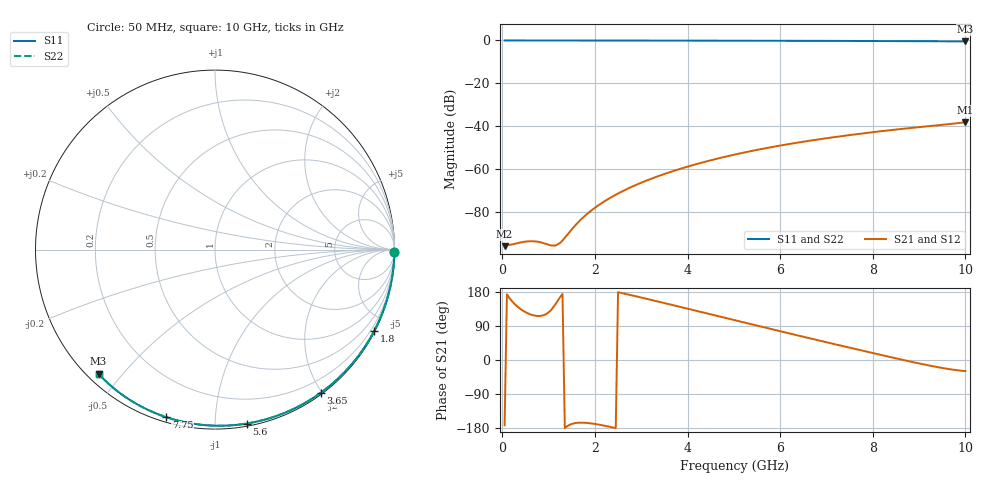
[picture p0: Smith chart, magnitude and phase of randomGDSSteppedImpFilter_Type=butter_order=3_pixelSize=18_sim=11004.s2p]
! freq	dB(S11)	phase(S11)	dB(S12)	phase(S12)
!  dB(S21)	phase(S21)	dB(S22)	phase(S22)
!S-par simulation data
#  GHz  S  DB  R 50
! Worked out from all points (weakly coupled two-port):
!   200 points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, 50 MHz to 10 GHz, reference 50 ohm
!   highest |S21| = -38.08 dB at 10 GHz (marker M1); lowest = -95.8 dB at 50 MHz (marker M2)
!   lowest |S11| = -0.5 dB at 10 GHz (marker M3), VSWR 37.67, Z = 1.58 - j21.7 ohm
!   |S11| at or under -10 dB: nowhere
!   |S22| runs from -0.5 to 0.0 dB; largest |S21 - S12| = 0
!   S11 on the Smith chart (normalised r, x): 50 MHz: open; 1.8 GHz: 0.04, -4.16; 3.65 GHz: 0.02, -1.98; 5.6 GHz: 0.02, -1.20; 7.75 GHz: 0.02, -0.75; 10 GHz: 0.03, -0.43
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0.05  -0.00 -0.8  -95.82 -172.2  -95.82 -172.2  -0.00 -0.8
0.9  -0.02 -13.7  -94.48 118.6  -94.48 118.6  -0.02 -13.7
1.75  -0.03 -26.3  -82.35 -165.4  -82.35 -165.4  -0.03 -26.3
1.8  -0.03 -27.1  -81.38 -165.8  -81.38 -165.8  -0.03 -27.1
1.85  -0.04 -27.8  -80.47 -166.3  -80.47 -166.3  -0.04 -27.8
1.9  -0.04 -28.5  -79.59 -167.0  -79.59 -167.0  -0.04 -28.5
2.05  -0.04 -30.7  -77.16 -169.8  -77.16 -169.8  -0.04 -30.7
2.25  -0.04 -33.7  -74.33 -174.4  -74.33 -174.4  -0.04 -33.7
2.45  -0.05 -36.6  -71.85 -179.6  -71.85 -179.6  -0.05 -36.6
2.65  -0.05 -39.5  -69.64 174.8  -69.64 174.8  -0.05 -39.5
3  -0.06 -44.5  -66.26 164.8  -66.26 164.8  -0.06 -44.5
3.4  -0.07 -50.1  -62.95 153.2  -62.95 153.2  -0.07 -50.1
3.65  -0.07 -53.6  -61.11 145.8  -61.11 145.8  -0.07 -53.6
4.3  -0.09 -62.5  -56.95 126.6  -56.95 126.6  -0.09 -62.5
5.05  -0.11 -72.5  -53.00 104.2  -53.00 104.2  -0.11 -72.5
5.6  -0.13 -79.7  -50.55 87.8  -50.55 87.8  -0.13 -79.7
6.15  -0.15 -86.7  -48.40 71.6  -48.40 71.6  -0.15 -86.7
6.7  -0.18 -93.5  -46.50 55.5  -46.50 55.5  -0.18 -93.5
7.75  -0.24 -106.2  -43.38 25.4  -43.38 25.4  -0.24 -106.2
8.35  -0.29 -113.3  -41.85 8.5  -41.85 8.5  -0.29 -113.3
9.25  -0.37 -123.8  -39.84 -15.3  -39.84 -15.3  -0.37 -123.8
10  -0.46 -133.1  -38.08 -29.2  -38.08 -29.2  -0.46 -133.1
